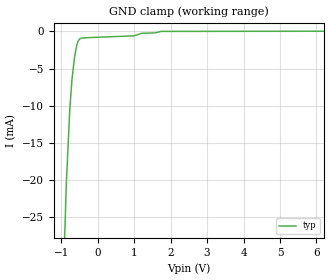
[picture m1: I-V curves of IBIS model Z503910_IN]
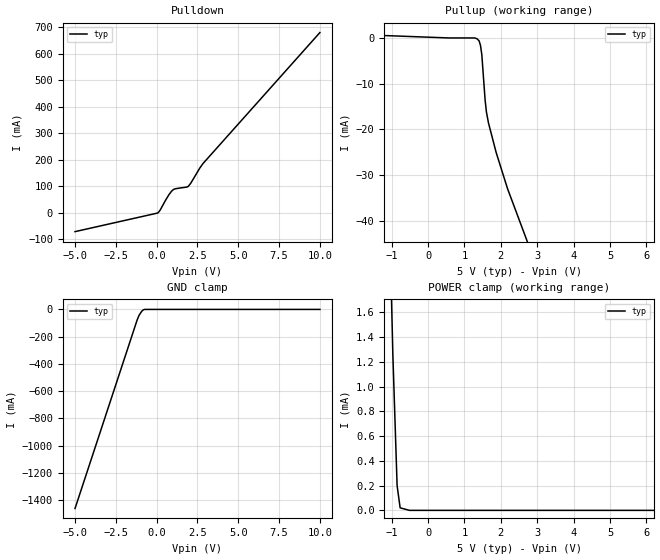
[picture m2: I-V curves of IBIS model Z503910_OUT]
| YOU ARE ONLY AUTHORIZED TO USE THIS SOFTWARE
| ACCORDING TO LICENSOR'S LICENSE RESTRICTIONS.
[IBIS Ver] 3.1
[File Name] mc54f148j.ibs
[File Rev] 2.0
[Source] Measured and created by ICX Technology
[Date] Friday 7/14/00 9:08:02 AM
[Copyright]
| (C) COPYRIGHT 1993-2000
| MENTOR GRAPHICS CORPORATION
| ICX STANDARD LIBRARY, ICX PROJECT MODELING,
| ICX CUSTOM MODELING, ICX VENDOR MODEL
| ALL RIGHTS RESERVED.
| THE FOLLOWING ARE TRADEMARKS OR SERVICE MARKS OF
| MENTOR GRAPHICS CORPORATION:ICX (R), ICX STANDARD
| LIBRARY(R), ICX PROJECT MODELING(R), ICX CUSTOM
| MODELING(R), qualityIBIS(TM), MODELVIEWER(TM),
| AND MODELEDITOR(TM)
| ALL COPIES OF SOFTWARE, INCLUDING BUT NOT LIMITED TO
| ANY MODIFICATIONS, ENHANCEMENTS OR DERIVATIVE WORKS,
| MUST CONTAIN ALL MENTOR GRAPHICS CORPORATION'S
| NOTICES AND LEGENDS, INCLUDING THOSE EMBEDDED IN
| SOFTWARE AND THOSE AFFIXED TO SOFTWARE MEDIUM
| AND CONTAINER, AS RECEIVED FROM MENTOR GRAPHICS
| CORPORATION.
|  ZAP Model Builder 2.7
[Component] MC54F148J
[Manufacturer] OnSemiconductor
[Package]
| variable   typ   min   max
R_pkg  .212ohms NA NA
L_pkg  4.758nH NA NA
C_pkg  1.143pF NA NA
[Pin] signal_name  model_name  R_pin  L_pin C_pin
1 _D4 Z503910_IN .224 7.258n 1.578p
2 _D5 Z503910_IN .216 5.258n 1.288p
3 _D6 Z503910_IN .208 3.758n .998p
4 _D7 Z503910_IN .2 2.758n .708p
5 EI Z503910_IN .2 2.758n .708p
6 _Y2 Z503910_OUT .208 3.758n .998p
7 _Y1 Z503910_OUT .216 5.258n 1.288p
8 GROUND GND .224 7.258n 1.578p
9 _Y0 Z503910_OUT .224 7.258n 1.578p
10 _D0 Z503910_IN .216 5.258n 1.288p
11 _D1 Z503910_IN .208 3.758n .998p
12 _D2 Z503910_IN .2 2.758n .708p
13 _D3 Z503910_IN .2 2.758n .708p
14 _GS Z503910_OUT .208 3.758n .998p
15 EO Z503910_OUT .216 5.258n 1.288p
16 VCC POWER .224 7.258n 1.578p
| Models and submodels in the file (2): Z503910_IN (Input), Z503910_OUT (Output)
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| (C) COPYRIGHT 1993-2000
| MENTOR GRAPHICS CORPORATION
| ICX STANDARD LIBRARY, ICX PROJECT MODELING,
| ICX CUSTOM MODELING, ICX VENDOR MODEL
| ALL RIGHTS RESERVED.
| THE FOLLOWING ARE TRADEMARKS OR SERVICE MARKS OF
| MENTOR GRAPHICS CORPORATION:ICX (R), ICX STANDARD
| LIBRARY(R), ICX PROJECT MODELING(R), ICX CUSTOM
| MODELING(R), qualityIBIS(TM), MODELVIEWER(TM),
| AND MODELEDITOR(TM)
| ALL COPIES OF SOFTWARE, INCLUDING BUT NOT LIMITED TO
| ANY MODIFICATIONS, ENHANCEMENTS OR DERIVATIVE WORKS,
| MUST CONTAIN ALL MENTOR GRAPHICS CORPORATION'S
| NOTICES AND LEGENDS, INCLUDING THOSE EMBEDDED IN
| SOFTWARE AND THOSE AFFIXED TO SOFTWARE MEDIUM
| AND CONTAINER, AS RECEIVED FROM MENTOR GRAPHICS
| CORPORATION.
| Model Application Version 1.89 2/18/99.
[Model] Z503910_IN
Model_type Input
Vinl = 800.0mV
Vinh = 2.000V
C_comp 4.000pF NA NA
| variable typ   min   max
[Voltage Range] 5.000V NA NA
[GND Clamp Reference] 0.000V NA NA
[POWER Clamp Reference] 5.000V NA NA
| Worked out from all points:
|   GND clamp passes 1 mA (typ) near -0.48 V on its own axis
[GND Clamp]
-5V       -686.8mA   NA         NA
-858mV    -20.58mA   NA         NA
-761.4mV  -10.45mA   NA         NA
-703.1mV  -6.516mA   NA         NA
-630.4mV  -3.42mA    NA         NA
-570.8mV  -1.847mA   NA         NA
-537.1mV  -1.339mA   NA         NA
-458.7mV  -918.6uA   NA         NA
995.8mV   -603.1uA   NA         NA
1.211V    -260.1uA   NA         NA
1.743V    -69.98nA   NA         NA
10V       42.62uA    NA         NA
[POWER Clamp]
-5V       0A         NA         NA
10V       0A         NA         NA
| (C) COPYRIGHT 1993-2000
| MENTOR GRAPHICS CORPORATION
| ICX STANDARD LIBRARY, ICX PROJECT MODELING,
| ICX CUSTOM MODELING, ICX VENDOR MODEL
| ALL RIGHTS RESERVED.
| THE FOLLOWING ARE TRADEMARKS OR SERVICE MARKS OF
| MENTOR GRAPHICS CORPORATION:ICX (R), ICX STANDARD
| LIBRARY(R), ICX PROJECT MODELING(R), ICX CUSTOM
| MODELING(R), qualityIBIS(TM), MODELVIEWER(TM),
| AND MODELEDITOR(TM)
| ALL COPIES OF SOFTWARE, INCLUDING BUT NOT LIMITED TO
| ANY MODIFICATIONS, ENHANCEMENTS OR DERIVATIVE WORKS,
| MUST CONTAIN ALL MENTOR GRAPHICS CORPORATION'S
| NOTICES AND LEGENDS, INCLUDING THOSE EMBEDDED IN
| SOFTWARE AND THOSE AFFIXED TO SOFTWARE MEDIUM
| AND CONTAINER, AS RECEIVED FROM MENTOR GRAPHICS
| CORPORATION.
| Model Application Version 1.89 2/18/99.
[Model] Z503910_OUT
Model_type Output
Vref=0.000V
Rref=500.0ohms
Cref=50.00pF
Vmeas=1.500V
C_comp 8.000pF NA NA
| variable typ   min   max
[Voltage Range] 5.000V NA NA
[POWER Clamp Reference] 5.000V NA NA
[Pullup Reference] 5.000V NA NA
[Pulldown Reference] 0.000V NA NA
[GND Clamp Reference] 0.000V NA NA
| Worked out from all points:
|   slope of the pulldown table from 0 to 0.75 V, typ, clamps not added: 10.7 ohm
|   slope of the pullup table from 0 to 0.75 V, typ, clamps not added: 4.41 kohm
|   GND clamp passes 1 mA (typ) near -0.76 V on its own axis
|   POWER clamp passes 1 mA (typ) near -0.94 V on its own axis
[GND Clamp]
-5V       -1.461A    NA         NA
-1.199V   -78.82mA   NA         NA
-1.083V   -44.76mA   NA         NA
-917.9mV  -14.05mA   NA         NA
-828.1mV  -4.231mA   NA         NA
-745.3mV  0A         NA         NA
10V       0A         NA         NA
[Pulldown]
-5V       -70.82mA   NA         NA
107.2mV   1.655mA    NA         NA
219mV     10.86mA    NA         NA
752mV     68.54mA    NA         NA
1.03V     88.18mA    NA         NA
1.954V    101.1mA    NA         NA
2.837V    186mA      NA         NA
10V       680.4mA    NA         NA
[Pullup]
-5V       1.692mA    NA         NA
1.28V     39.58uA    NA         NA
1.343V    -128.1uA   NA         NA
1.402V    -590.3uA   NA         NA
1.44V     -1.58mA    NA         NA
1.477V    -3.615mA   NA         NA
1.567V    -13.52mA   NA         NA
1.603V    -16.16mA   NA         NA
1.66V     -18.59mA   NA         NA
1.87V     -25.03mA   NA         NA
2.183V    -32.97mA   NA         NA
10V       -199.8mA   NA         NA
[POWER Clamp]
-5V       84.08mA    NA         NA
-1.36V    6.037mA    NA         NA
-967mV    1.261mA    NA         NA
-850mV    199.9uA    NA         NA
-767mV    20.53uA    NA         NA
-511.3mV  0A         NA         NA
10V       0A         NA         NA
[Ramp]
| variable typ min max
dV/dt_r 2.057/3.964n NA NA
dV/dt_f 2.057/1.806n NA NA
R_load = 500.0Ohms
